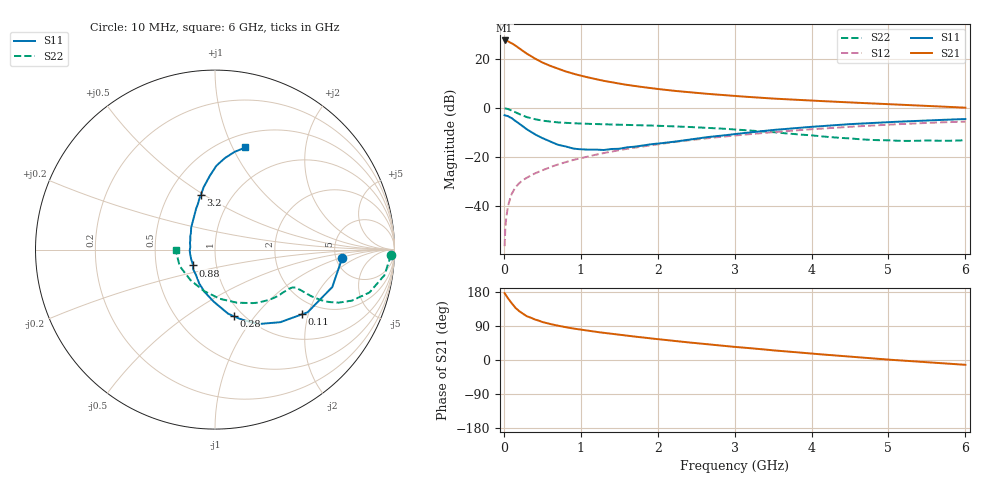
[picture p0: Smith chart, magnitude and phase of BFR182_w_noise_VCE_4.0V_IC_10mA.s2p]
! Infineon Technologies  Discrete & RF Semiconductors
! BFR182
! VCE =  4.0 V,  IC =  10 mA
! Common Emitter S-Parameters:  Nov 2015
# GHz  S  MA  R  50
!  f  S11  S21  S12  S22
! GHz  MAG  ANG  MAG  ANG  MAG  ANG  MAG  ANG
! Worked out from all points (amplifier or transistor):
!   210 points, 10 MHz to 6 GHz, reference 50 ohm
!   highest |S21| = 27.6 dB at 10 MHz (marker M1)
!   |S21| within 3 dB of that: start of sweep to 190.7 MHz
!   unconditionally stable (mu >= 1): 797.3 MHz to 2.645 GHz
!   at 185 MHz: K = 0.50, MSG = 28.0 dB, |S12| = -31.2 dB
!   at 1.52 GHz: K = 1.05, MAG = 12.2 dB, |S12| = -17.1 dB
!   at 6 GHz: K = 0.89, MSG = 2.8 dB, |S12| = -5.6 dB
!   lowest NFmin = 1.50 dB at 450 MHz
!   S11 on the Smith chart (normalised r, x): 10 MHz: 5.71, -1.03; 110 MHz: 1.61, -1.83; 280 MHz: 0.91, -0.79; 880 MHz: 0.77, -0.14; 3.2 GHz: 0.72, +0.49; 6 GHz: 0.64, +1.12
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0.01  0.71 -3.6  23.9 176.4  0.0015 91.4  0.9816 -1.7
0.025  0.6962 -8.9  23.66 171.6  0.0045 84.1  0.9693 -4.3
0.05  0.686 -17.7  23.15 164.0  0.0089 80.9  0.9555 -8.5
0.1  0.6231 -34.1  21.16 150.1  0.0172 76.1  0.8932 -15.5
0.11  0.6047 -36.6  20.62 147.8  0.0185 74.7  0.877 -16.4
0.15  0.5442 -48.0  18.82 137.6  0.0237 70.5  0.8148 -20.4
0.2  0.4806 -59.6  16.53 128.8  0.029 68.1  0.7507 -23.2
0.24  0.43 -66.9  14.89 123.0  0.0328 66.8  0.7056 -24.5
0.28  0.3851 -74.3  13.47 117.9  0.036 66.6  0.6668 -25.3
0.3  0.3649 -78.4  12.81 115.4  0.0376 66.6  0.6484 -25.6
0.4  0.291 -91.2  10.29 107.2  0.0456 66.4  0.5891 -25.8
0.5  0.2428 -104.0  8.487 100.3  0.0532 67.0  0.5506 -25.5
0.7  0.1776 -126.3  6.341 90.6  0.0696 68.5  0.5068 -25.3
0.88  0.1512 -144.3  5.12 83.9  0.0847 68.4  0.4886 -25.6
1.02  0.1424 -160.1  4.483 79.5  0.0957 68.3  0.4782 -26.3
1.4  0.145 165.0  3.339 69.1  0.1282 67.5  0.4586 -29.7
2.02  0.1883 133.1  2.421 54.6  0.1829 63.3  0.4314 -37.5
3.1  0.304 106.0  1.712 33.0  0.2825 53.8  0.3542 -57.2
3.2  0.3162 104.3  1.67 31.2  0.2917 52.7  0.3447 -59.6
4.1  0.4221 93.0  1.389 15.3  0.3759 42.9  0.2655 -88.0
5.1  0.5212 82.7  1.178 -0.3  0.4638 30.7  0.2142 -134.0
6  0.5938 73.4  1.012 -12.7  0.5267 18.4  0.2192 -179.0
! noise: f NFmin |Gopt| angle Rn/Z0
0.45  1.5  0.26  43  0.28
0.9  1.6  0.24  87  0.22
1.8  2.1  0.2  170  0.2
